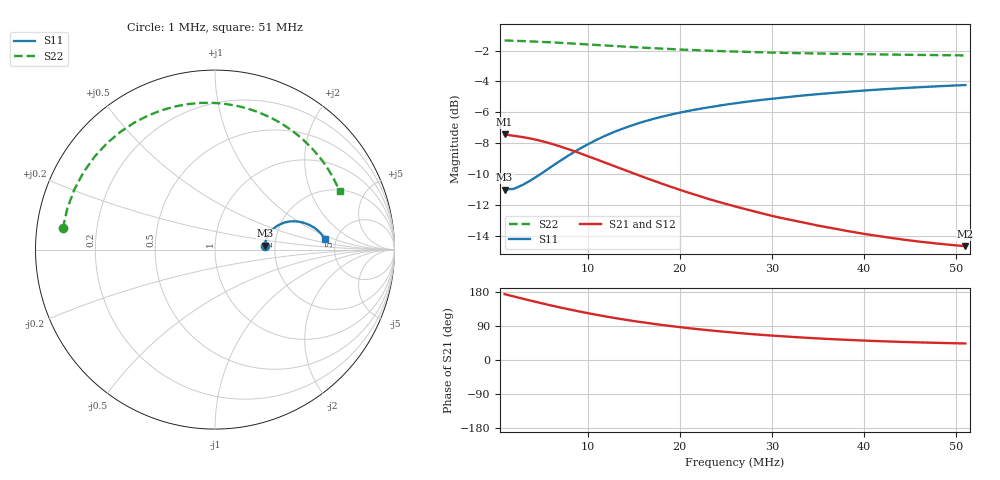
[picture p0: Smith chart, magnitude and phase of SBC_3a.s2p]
# MHz S RI R 50
! S-Parameters data
! Freq  reS11  imS11  reS21  imS21  reS12  imS12  reS22  imS22
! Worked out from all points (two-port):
!   51 points, 1 MHz to 51 MHz, reference 50 ohm
!   highest |S21| = -7.43 dB at 1 MHz (marker M1); lowest = -14.7 dB at 51 MHz (marker M2)
!   |S21| within 3 dB of the highest: start of sweep to 17.17 MHz
!   lowest |S11| = -11.0 dB at 1 MHz (marker M3), VSWR 1.78, Z = 88.9 + j4.29 ohm
!   |S11| at or under -10 dB: start of sweep to 4.899 MHz
!   |S22| runs from -2.3 to -1.3 dB; largest |S21 - S12| = 0.0023
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1  0.2807 0.0222  -0.4225 0.0455  -0.4216 0.0449  -0.8481 0.1181
2  0.2804 0.04  -0.4109 0.0901  -0.4103 0.0892  -0.8224 0.2306
3  0.286 0.0587  -0.3952 0.1316  -0.3948 0.1305  -0.7832 0.3361
4  0.2941 0.0761  -0.3745 0.1695  -0.3744 0.1683  -0.7314 0.4328
5  0.3041 0.0918  -0.3498 0.2032  -0.35 0.2019  -0.6696 0.5193
6  0.3156 0.1059  -0.3221 0.2321  -0.3226 0.2307  -0.6003 0.5942
7  0.328 0.118  -0.2925 0.2562  -0.2933 0.2548  -0.5259 0.6567
8  0.3409 0.1283  -0.262 0.2753  -0.263 0.2741  -0.4492 0.7076
9  0.3543 0.1366  -0.2313 0.2901  -0.2326 0.289  -0.3718 0.7474
10  0.3675 0.1429  -0.2009 0.3004  -0.2031 0.2999  -0.296 0.7768
11  0.3806 0.1485  -0.172 0.3078  -0.1737 0.3072  -0.2215 0.7977
13  0.4057 0.1549  -0.1179 0.3133  -0.1198 0.3131  -0.0834 0.8172
15  0.4283 0.1575  -0.0708 0.3098  -0.0728 0.3101  0.0385 0.814
18  0.4584 0.1566  -0.0143 0.2944  -0.0153 0.2955  0.1878 0.7836
20  0.4756 0.1539  0.0159 0.2808  0.015 0.2821  0.2689 0.7539
22  0.4908 0.1501  0.0406 0.2661  0.0399 0.2674  0.3379 0.7208
26  0.5172 0.1409  0.0765 0.2364  0.0763 0.2379  0.4441 0.6515
30  0.5388 0.1299  0.0998 0.209  0.0999 0.2106  0.5197 0.5847
35  0.5621 0.1152  0.1174 0.1805  0.1177 0.182  0.5867 0.5095
39  0.5775 0.1021  0.1253 0.1621  0.1258 0.1633  0.6252 0.4557
43  0.5908 0.0883  0.1298 0.1473  0.1304 0.1485  0.6542 0.4076
51  0.6113 0.0584  0.1336 0.1275  0.1344 0.1285  0.6938 0.3244
